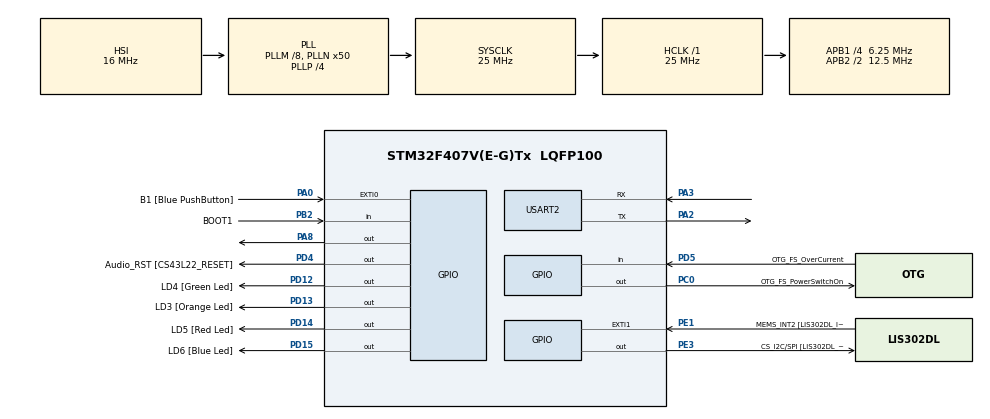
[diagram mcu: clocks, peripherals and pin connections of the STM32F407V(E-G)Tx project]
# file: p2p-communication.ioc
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Mcu.Family=STM32F4
Mcu.Name=STM32F407V(E-G)Tx
Mcu.Package=LQFP100
NVIC.PriorityGroup=NVIC_PRIORITYGROUP_0
PA0-WKUP.GPIO_Label=B1 [Blue PushButton]
PA0-WKUP.Signal=GPXTI0
PA10.GPIO_Label=OTG_FS_ID
PA10.GPIO_Mode=GPIO_MODE_AF_PP
PA10.GPIO_PuPd=GPIO_NOPULL
PA10.GPIO_Speed=GPIO_SPEED_FREQ_LOW
PA10.Signal=USB_OTG_FS_ID
PA11.GPIO_Label=OTG_FS_DM
PA11.GPIO_Mode=GPIO_MODE_AF_PP
PA11.GPIO_PuPd=GPIO_NOPULL
PA11.GPIO_Speed=GPIO_SPEED_FREQ_LOW
PA11.Signal=USB_OTG_FS_DM
PA12.GPIO_Label=OTG_FS_DP
PA12.GPIO_Mode=GPIO_MODE_AF_PP
PA12.GPIO_PuPd=GPIO_NOPULL
PA12.GPIO_Speed=GPIO_SPEED_FREQ_LOW
PA12.Signal=USB_OTG_FS_DP
PA13.GPIO_Label=SWDIO
PA13.Signal=SYS_JTMS-SWDIO
PA14.GPIO_Label=SWCLK
PA14.Signal=SYS_JTCK-SWCLK
PA2.Mode=Asynchronous
PA2.Signal=USART2_TX
PA3.Mode=Asynchronous
PA3.Signal=USART2_RX
PA4.GPIO_Label=I2S3_WS [CS43L22_LRCK]
PA4.GPIO_Mode=GPIO_MODE_AF_PP
PA4.GPIO_PuPd=GPIO_NOPULL
PA4.GPIO_Speed=GPIO_SPEED_FREQ_LOW
PA4.Signal=I2S3_WS
PA5.GPIO_Label=SPI1_SCK [LIS302DL_SCL/SPC]
PA5.GPIO_Mode=GPIO_MODE_AF_PP
PA5.GPIO_PuPd=GPIO_NOPULL
PA5.GPIO_Speed=GPIO_SPEED_FREQ_LOW
PA5.Signal=SPI1_SCK
PA6.GPIO_Label=SPI1_MISO [LIS302DL_SDO]
PA6.GPIO_Mode=GPIO_MODE_AF_PP
PA6.GPIO_PuPd=GPIO_NOPULL
PA6.GPIO_Speed=GPIO_SPEED_FREQ_LOW
PA6.Signal=SPI1_MISO
PA7.GPIO_Label=SPI1_MOSI [LIS302DL_SDA/SDI/SDO]
PA7.GPIO_Mode=GPIO_MODE_AF_PP
PA7.GPIO_PuPd=GPIO_NOPULL
PA7.GPIO_Speed=GPIO_SPEED_FREQ_LOW
PA7.Signal=SPI1_MOSI
PA8.Signal=GPIO_Output
PA9.GPIO_Label=VBUS_FS
PA9.GPIO_Mode=GPIO_MODE_INPUT
PA9.GPIO_PuPd=GPIO_NOPULL
PA9.Signal=USB_OTG_FS_VBUS
PB10.GPIO_Label=CLK_IN [MP45DT02_CLK]
PB10.GPIO_Mode=GPIO_MODE_AF_PP
PB10.GPIO_PuPd=GPIO_NOPULL
PB10.GPIO_Speed=GPIO_SPEED_FREQ_LOW
PB10.Signal=I2S2_CK
PB2.GPIO_Label=BOOT1
PB2.GPIO_Mode=GPIO_MODE_INPUT
PB2.GPIO_PuPd=GPIO_NOPULL
PB2.Signal=GPIO_Input
PB3.GPIO_Label=SWO
PB3.Signal=SYS_JTDO-SWO
PB6.GPIO_Label=Audio_SCL [CS43L22_SCL]
PB6.GPIO_Mode=GPIO_MODE_AF_OD
PB6.GPIO_PuPd=GPIO_NOPULL
PB6.GPIO_Speed=GPIO_SPEED_FREQ_LOW
PB6.Signal=I2C1_SCL
PB9.GPIO_Label=Audio_SDA [CS43L22_SDA]
PB9.GPIO_Mode=GPIO_MODE_AF_OD
PB9.GPIO_PuPd=GPIO_NOPULL
PB9.GPIO_Speed=GPIO_SPEED_FREQ_LOW
PB9.Signal=I2C1_SDA
PC0.GPIO_Label=OTG_FS_PowerSwitchOn
PC0.GPIO_PuPd=GPIO_NOPULL
PC0.GPIO_Speed=GPIO_SPEED_FREQ_LOW
PC0.PinState=GPIO_PIN_SET
PC0.Signal=GPIO_Output
PC10.GPIO_Label=I2S3_SCK [CS43L22_SCLK]
PC10.GPIO_Mode=GPIO_MODE_AF_PP
PC10.GPIO_PuPd=GPIO_NOPULL
PC10.GPIO_Speed=GPIO_SPEED_FREQ_LOW
PC10.Signal=I2S3_CK
PC12.GPIO_Label=I2S3_SD [CS43L22_SDIN]
PC12.GPIO_Mode=GPIO_MODE_AF_PP
PC12.GPIO_PuPd=GPIO_NOPULL
PC12.GPIO_Speed=GPIO_SPEED_FREQ_LOW
PC12.Signal=I2S3_SD
PC14-OSC32_IN.GPIO_Label=PC14-OSC32_IN
PC14-OSC32_IN.Signal=RCC_OSC32_IN
PC15-OSC32_OUT.GPIO_Label=PC15-OSC32_OUT
PC15-OSC32_OUT.Signal=RCC_OSC32_OUT
PC3.GPIO_Label=PDM_OUT [MP45DT02_DOUT]
PC3.GPIO_Mode=GPIO_MODE_AF_PP
PC3.GPIO_PuPd=GPIO_NOPULL
PC3.GPIO_Speed=GPIO_SPEED_FREQ_LOW
PC3.Signal=I2S2_SD
PC7.GPIO_Label=I2S3_MCK [CS43L22_MCLK]
PC7.GPIO_Mode=GPIO_MODE_AF_PP
PC7.GPIO_PuPd=GPIO_NOPULL
PC7.GPIO_Speed=GPIO_SPEED_FREQ_LOW
PC7.Signal=I2S3_MCK
PD12.GPIO_Label=LD4 [Green Led]
PD12.GPIO_PuPd=GPIO_NOPULL
PD12.GPIO_Speed=GPIO_SPEED_FREQ_LOW
PD12.Signal=GPIO_Output
PD13.GPIO_Label=LD3 [Orange Led]
PD13.GPIO_PuPd=GPIO_NOPULL
PD13.GPIO_Speed=GPIO_SPEED_FREQ_LOW
PD13.Signal=GPIO_Output
PD14.GPIO_Label=LD5 [Red Led]
PD14.GPIO_PuPd=GPIO_NOPULL
PD14.GPIO_Speed=GPIO_SPEED_FREQ_LOW
PD14.Signal=GPIO_Output
PD15.GPIO_Label=LD6 [Blue Led]
PD15.GPIO_PuPd=GPIO_NOPULL
PD15.GPIO_Speed=GPIO_SPEED_FREQ_LOW
PD15.Signal=GPIO_Output
PD4.GPIO_Label=Audio_RST [CS43L22_RESET]
PD4.GPIO_PuPd=GPIO_NOPULL
PD4.GPIO_Speed=GPIO_SPEED_FREQ_LOW
PD4.Signal=GPIO_Output
PD5.GPIO_Label=OTG_FS_OverCurrent
PD5.GPIO_Mode=GPIO_MODE_INPUT
PD5.GPIO_PuPd=GPIO_NOPULL
PD5.Signal=GPIO_Input
PE1.GPIO_Label=MEMS_INT2 [LIS302DL_INT2]
PE1.GPIO_ModeDefaultEXTI=GPIO_MODE_EVT_RISING
PE1.GPIO_PuPd=GPIO_NOPULL
PE1.Signal=GPXTI1
PE3.GPIO_Label=CS_I2C/SPI [LIS302DL_CS_I2C/SPI]
PE3.GPIO_PuPd=GPIO_NOPULL
PE3.GPIO_Speed=GPIO_SPEED_FREQ_LOW
PE3.Signal=GPIO_Output
PH0-OSC_IN.GPIO_Label=PH0-OSC_IN
PH0-OSC_IN.Signal=RCC_OSC_IN
PH1-OSC_OUT.GPIO_Label=PH1-OSC_OUT
PH1-OSC_OUT.Signal=RCC_OSC_OUT
ProjectManager.HeapSize=0x200
ProjectManager.StackSize=0x400
ProjectManager.TargetToolchain=Makefile
RCC.48MHZClocksFreq_Value=14285714.285714285
RCC.AHBFreq_Value=25000000
RCC.APB1CLKDivider=RCC_HCLK_DIV4
RCC.APB1Freq_Value=6250000
RCC.APB1TimFreq_Value=12500000
RCC.APB2CLKDivider=RCC_HCLK_DIV2
RCC.APB2Freq_Value=12500000
RCC.APB2TimFreq_Value=25000000
RCC.CortexFreq_Value=25000000
RCC.HCLKFreq_Value=25000000
RCC.HSE_VALUE=8000000
RCC.HSI_VALUE=16000000
RCC.LSE_VALUE=32768
RCC.PLLM=8
RCC.PLLN=50
RCC.PLLP=RCC_PLLP_DIV4
RCC.PLLQ=7
RCC.SYSCLKFreq_VALUE=25000000
RCC.SYSCLKSource=RCC_SYSCLKSOURCE_PLLCLK
RCC.VCOOutputFreq_Value=100000000
USART2.VirtualMode=VM_ASYNC
board=STM32F407G-DISC1

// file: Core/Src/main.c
/* USER CODE BEGIN Header */
/**
  ******************************************************************************
  * @file           : main.c
  * @brief          : Main program body
  ******************************************************************************
  * @attention
  *
  * Copyright (c) 2026 STMicroelectronics.
  * All rights reserved.
  *
  * This software is licensed under terms that can be found in the LICENSE file
  * in the root directory of this software component.
  * If no LICENSE file comes with this software, it is provided AS-IS.
  *
  ******************************************************************************
  */
/* USER CODE END Header */
#include "main.h"

/* USER CODE BEGIN Includes */
#include "stm32f4xx_hal.h"
#include <string.h>
#include "rs485.h"
#include "packet.h"
/* USER CODE END Includes */

/* USER CODE BEGIN PD */

#if !defined(NODE_ID)
  #error "NODE_ID not defined!"
#endif

/* USER CODE END PD */

UART_HandleTypeDef huart2;

void SystemClock_Config(void);
static void MX_GPIO_Init(void);
static void MX_USART2_UART_Init(void);

int main(void)
{

  /* MCU Configuration--------------------------------------------------------*/

  /* Reset of all peripherals, Initializes the Flash interface and the Systick. */
  HAL_Init();

  /* Configure the system clock */
  SystemClock_Config();

  /* Initialize all configured peripherals */
  MX_GPIO_Init();
  MX_USART2_UART_Init();
  /* USER CODE BEGIN 2 */

  RS485_Init(); // enables RXNE interrupt, sets RX mode

  /* USER CODE END 2 */

  /* Infinite loop */
  while (1)
  {

    /* USER CODE BEGIN 3 */

    #if NODE_ID == 1
      // Node 1: build packet -> Send -> wait for ACK -> with retry capability
      static uint8_t seq = 0;
      uint8_t payload[] = "Hello from Node1";
      uint8_t tx_buffer[PKT_MAX_TOTAL];
      uint16_t tx_len = PKT_Build(NODE_ID, MSG_DATA, seq, payload, sizeof(payload) - 1, tx_buffer);
      uint8_t got_ack = 0;
      uint8_t attempts = 0;

      while(attempts <= PKT_MAX_RETRIES && !got_ack)
      {
        // send (or resend same packet, same seq)
        uint8_t dummy;
        while(RS485_ReadByte(&dummy)); // drain any stale bytes before retrying
        RS485_Send(tx_buffer, tx_len);

        // waiting for matching ACK
        uint32_t start_time = HAL_GetTick();
        while((HAL_GetTick() - start_time) < RS485_TIMEOUT_MS)
        {
          uint8_t byte;
          //drain all bytes from ring buffer into parser
          while(RS485_ReadByte(&byte))
          {
            Packet rx_pkt;
            uint8_t result = PKT_Parse(byte, &rx_pkt);
            if(result == 1)
            {
              // valid packet - check if it's an ACK from Node 2
              if(rx_pkt.msg_type == MSG_ACK && rx_pkt.node_id == 2 && rx_pkt.seq == seq)
              {
                got_ack = 1;
              }
            }
            // result == 2 means CRC error - sliently discard
          }
          if(got_ack) break;
        }
        attempts++;
      }

      if(got_ack)
      {
        // 3 quick blinks = ACK received
        for(int i = 0; i < 3; i++) {
          HAL_GPIO_WritePin(GPIOD, LD4_Pin, GPIO_PIN_SET); // toggle LED on ACK
          HAL_Delay(100);
          HAL_GPIO_WritePin(GPIOD, LD4_Pin, GPIO_PIN_RESET);
          HAL_Delay(100);
        }
      }
      else
      {
        // solid red blink = all retries failed
        HAL_GPIO_WritePin(GPIOD, LD5_Pin, GPIO_PIN_SET); // toggle LED on failure
        HAL_Delay(600);
        HAL_GPIO_WritePin(GPIOD, LD5_Pin, GPIO_PIN_RESET);
        HAL_Delay(600);
      }
      seq++;              // increment sequence number for next message
      HAL_Delay(3000);    // wait before sending next message

    #elif NODE_ID == 2
      // Node 2: receive -> parse -> validate -> check sequence -> ACK
      uint8_t byte;
      while(RS485_ReadByte(&byte))
      {
        Packet rx_pkt;
        uint8_t result = PKT_Parse(byte, &rx_pkt);

        if(result == 1)
        {
          // valid packet - check if it's a data message from Node 1
          if(rx_pkt.msg_type == MSG_DATA)
          {
            // Send ACK back to sender first
            uint8_t ack_buffer[PKT_MAX_TOTAL];
            uint16_t ack_len = PKT_Build(NODE_ID, MSG_ACK, rx_pkt.seq, NULL, 0, ack_buffer);
            HAL_Delay(1); // guard before TX switch
            RS485_Send(ack_buffer, ack_len);

            // 1 long red blink = good packet (blink after ACK is sent)
            HAL_GPIO_WritePin(GPIOD, LD5_Pin, GPIO_PIN_SET); // toggle LED on message receive
            HAL_Delay(500);
            HAL_GPIO_WritePin(GPIOD, LD5_Pin, GPIO_PIN_RESET);
          }
        }
        // result == 2 means CRC error - sliently discard
        else if(result == 2)
        {
          // crC error - rapid orange blink to signal corruption
          for(int i = 0; i < 5; i++)
          {
            HAL_GPIO_WritePin(GPIOD, LD3_Pin, GPIO_PIN_SET); // toggle LED on CRC error
            HAL_Delay(50);
            HAL_GPIO_WritePin(GPIOD, LD3_Pin, GPIO_PIN_RESET);
            HAL_Delay(50);
          }
        }
      }

    #else
      #error "Invalid NODE_ID"
    #endif
  }
  /* USER CODE END 3 */
}

void SystemClock_Config(void)
{
  RCC_OscInitTypeDef RCC_OscInitStruct = {0};
  RCC_ClkInitTypeDef RCC_ClkInitStruct = {0};

  /** Configure the main internal regulator output voltage
  */
  __HAL_RCC_PWR_CLK_ENABLE();
  __HAL_PWR_VOLTAGESCALING_CONFIG(PWR_REGULATOR_VOLTAGE_SCALE1);

  /** Initializes the RCC Oscillators according to the specified parameters
  * in the RCC_OscInitTypeDef structure.
  */
  RCC_OscInitStruct.OscillatorType = RCC_OSCILLATORTYPE_HSI;
  RCC_OscInitStruct.HSIState = RCC_HSI_ON;
  RCC_OscInitStruct.HSICalibrationValue = RCC_HSICALIBRATION_DEFAULT;
  RCC_OscInitStruct.PLL.PLLState = RCC_PLL_ON;
  RCC_OscInitStruct.PLL.PLLSource = RCC_PLLSOURCE_HSI;
  RCC_OscInitStruct.PLL.PLLM = 8;
  RCC_OscInitStruct.PLL.PLLN = 50;
  RCC_OscInitStruct.PLL.PLLP = RCC_PLLP_DIV4;
  RCC_OscInitStruct.PLL.PLLQ = 7;
  if (HAL_RCC_OscConfig(&RCC_OscInitStruct) != HAL_OK)
  {
    Error_Handler();
  }

  /** Initializes the CPU, AHB and APB buses clocks
  */
  RCC_ClkInitStruct.ClockType = RCC_CLOCKTYPE_HCLK|RCC_CLOCKTYPE_SYSCLK
                              |RCC_CLOCKTYPE_PCLK1|RCC_CLOCKTYPE_PCLK2;
  RCC_ClkInitStruct.SYSCLKSource = RCC_SYSCLKSOURCE_PLLCLK;
  RCC_ClkInitStruct.AHBCLKDivider = RCC_SYSCLK_DIV1;
  RCC_ClkInitStruct.APB1CLKDivider = RCC_HCLK_DIV4;
  RCC_ClkInitStruct.APB2CLKDivider = RCC_HCLK_DIV2;

  if (HAL_RCC_ClockConfig(&RCC_ClkInitStruct, FLASH_LATENCY_0) != HAL_OK)
  {
    Error_Handler();
  }
}

static void MX_USART2_UART_Init(void)
{

  huart2.Instance = USART2;
  huart2.Init.BaudRate = 115200;
  huart2.Init.WordLength = UART_WORDLENGTH_8B;
  huart2.Init.StopBits = UART_STOPBITS_1;
  huart2.Init.Parity = UART_PARITY_NONE;
  huart2.Init.Mode = UART_MODE_TX_RX;
  huart2.Init.HwFlowCtl = UART_HWCONTROL_NONE;
  huart2.Init.OverSampling = UART_OVERSAMPLING_16;
  if (HAL_UART_Init(&huart2) != HAL_OK)
  {
    Error_Handler();
  }

}

static void MX_GPIO_Init(void)
{
  GPIO_InitTypeDef GPIO_InitStruct = {0};

  /* GPIO Ports Clock Enable */
  __HAL_RCC_GPIOE_CLK_ENABLE();
  __HAL_RCC_GPIOC_CLK_ENABLE();
  __HAL_RCC_GPIOH_CLK_ENABLE();
  __HAL_RCC_GPIOA_CLK_ENABLE();
  __HAL_RCC_GPIOB_CLK_ENABLE();
  __HAL_RCC_GPIOD_CLK_ENABLE();

  /*Configure GPIO pin Output Level */
  HAL_GPIO_WritePin(CS_I2C_SPI_GPIO_Port, CS_I2C_SPI_Pin, GPIO_PIN_RESET);

  /*Configure GPIO pin Output Level */
  HAL_GPIO_WritePin(OTG_FS_PowerSwitchOn_GPIO_Port, OTG_FS_PowerSwitchOn_Pin, GPIO_PIN_SET);

  /*Configure GPIO pin Output Level */
  HAL_GPIO_WritePin(GPIOD, LD4_Pin|LD3_Pin|LD5_Pin|LD6_Pin
                          |Audio_RST_Pin, GPIO_PIN_RESET);

  /*Configure GPIO pin Output Level */
  HAL_GPIO_WritePin(GPIOA, GPIO_PIN_8, GPIO_PIN_RESET);

  /*Configure GPIO pin : CS_I2C_SPI_Pin */
  GPIO_InitStruct.Pin = CS_I2C_SPI_Pin;
  GPIO_InitStruct.Mode = GPIO_MODE_OUTPUT_PP;
  GPIO_InitStruct.Pull = GPIO_NOPULL;
  GPIO_InitStruct.Speed = GPIO_SPEED_FREQ_LOW;
  HAL_GPIO_Init(CS_I2C_SPI_GPIO_Port, &GPIO_InitStruct);

  /*Configure GPIO pin : OTG_FS_PowerSwitchOn_Pin */
  GPIO_InitStruct.Pin = OTG_FS_PowerSwitchOn_Pin;
  GPIO_InitStruct.Mode = GPIO_MODE_OUTPUT_PP;
  GPIO_InitStruct.Pull = GPIO_NOPULL;
  GPIO_InitStruct.Speed = GPIO_SPEED_FREQ_LOW;
  HAL_GPIO_Init(OTG_FS_PowerSwitchOn_GPIO_Port, &GPIO_InitStruct);

  /*Configure GPIO pin : PDM_OUT_Pin */
  GPIO_InitStruct.Pin = PDM_OUT_Pin;
  GPIO_InitStruct.Mode = GPIO_MODE_AF_PP;
  GPIO_InitStruct.Pull = GPIO_NOPULL;
  GPIO_InitStruct.Speed = GPIO_SPEED_FREQ_LOW;
  GPIO_InitStruct.Alternate = GPIO_AF5_SPI2;
  HAL_GPIO_Init(PDM_OUT_GPIO_Port, &GPIO_InitStruct);

  /*Configure GPIO pin : B1_Pin */
  GPIO_InitStruct.Pin = B1_Pin;
  GPIO_InitStruct.Mode = GPIO_MODE_IT_RISING;
  GPIO_InitStruct.Pull = GPIO_NOPULL;
  HAL_GPIO_Init(B1_GPIO_Port, &GPIO_InitStruct);

  /*Configure GPIO pin : I2S3_WS_Pin */
  GPIO_InitStruct.Pin = I2S3_WS_Pin;
  GPIO_InitStruct.Mode = GPIO_MODE_AF_PP;
  GPIO_InitStruct.Pull = GPIO_NOPULL;
  GPIO_InitStruct.Speed = GPIO_SPEED_FREQ_LOW;
  GPIO_InitStruct.Alternate = GPIO_AF6_SPI3;
  HAL_GPIO_Init(I2S3_WS_GPIO_Port, &GPIO_InitStruct);

  /*Configure GPIO pins : SPI1_SCK_Pin SPI1_MISO_Pin SPI1_MOSI_Pin */
  GPIO_InitStruct.Pin = SPI1_SCK_Pin|SPI1_MISO_Pin|SPI1_MOSI_Pin;
  GPIO_InitStruct.Mode = GPIO_MODE_AF_PP;
  GPIO_InitStruct.Pull = GPIO_NOPULL;
  GPIO_InitStruct.Speed = GPIO_SPEED_FREQ_LOW;
  GPIO_InitStruct.Alternate = GPIO_AF5_SPI1;
  HAL_GPIO_Init(GPIOA, &GPIO_InitStruct);

  /*Configure GPIO pin : BOOT1_Pin */
  GPIO_InitStruct.Pin = BOOT1_Pin;
  GPIO_InitStruct.Mode = GPIO_MODE_INPUT;
  GPIO_InitStruct.Pull = GPIO_NOPULL;
  HAL_GPIO_Init(BOOT1_GPIO_Port, &GPIO_InitStruct);

  /*Configure GPIO pin : CLK_IN_Pin */
  GPIO_InitStruct.Pin = CLK_IN_Pin;
  GPIO_InitStruct.Mode = GPIO_MODE_AF_PP;
  GPIO_InitStruct.Pull = GPIO_NOPULL;
  GPIO_InitStruct.Speed = GPIO_SPEED_FREQ_LOW;
  GPIO_InitStruct.Alternate = GPIO_AF5_SPI2;
  HAL_GPIO_Init(CLK_IN_GPIO_Port, &GPIO_InitStruct);

  /*Configure GPIO pins : LD4_Pin LD3_Pin LD5_Pin LD6_Pin
                           Audio_RST_Pin */
  GPIO_InitStruct.Pin = LD4_Pin|LD3_Pin|LD5_Pin|LD6_Pin
                          |Audio_RST_Pin;
  GPIO_InitStruct.Mode = GPIO_MODE_OUTPUT_PP;
  GPIO_InitStruct.Pull = GPIO_NOPULL;
  GPIO_InitStruct.Speed = GPIO_SPEED_FREQ_LOW;
  HAL_GPIO_Init(GPIOD, &GPIO_InitStruct);

  /*Configure GPIO pins : I2S3_MCK_Pin I2S3_SCK_Pin I2S3_SD_Pin */
  GPIO_InitStruct.Pin = I2S3_MCK_Pin|I2S3_SCK_Pin|I2S3_SD_Pin;
  GPIO_InitStruct.Mode = GPIO_MODE_AF_PP;
  GPIO_InitStruct.Pull = GPIO_NOPULL;
  GPIO_InitStruct.Speed = GPIO_SPEED_FREQ_LOW;
  GPIO_InitStruct.Alternate = GPIO_AF6_SPI3;
  HAL_GPIO_Init(GPIOC, &GPIO_InitStruct);

  /*Configure GPIO pin : PA8 */
  GPIO_InitStruct.Pin = GPIO_PIN_8;
  GPIO_InitStruct.Mode = GPIO_MODE_OUTPUT_PP;
  GPIO_InitStruct.Pull = GPIO_NOPULL;
  GPIO_InitStruct.Speed = GPIO_SPEED_FREQ_LOW;
  HAL_GPIO_Init(GPIOA, &GPIO_InitStruct);

  /*Configure GPIO pin : VBUS_FS_Pin */
  GPIO_InitStruct.Pin = VBUS_FS_Pin;
  GPIO_InitStruct.Mode = GPIO_MODE_INPUT;
  GPIO_InitStruct.Pull = GPIO_NOPULL;
  HAL_GPIO_Init(VBUS_FS_GPIO_Port, &GPIO_InitStruct);

  /*Configure GPIO pins : OTG_FS_ID_Pin OTG_FS_DM_Pin OTG_FS_DP_Pin */
  GPIO_InitStruct.Pin = OTG_FS_ID_Pin|OTG_FS_DM_Pin|OTG_FS_DP_Pin;
  GPIO_InitStruct.Mode = GPIO_MODE_AF_PP;
  GPIO_InitStruct.Pull = GPIO_NOPULL;
  GPIO_InitStruct.Speed = GPIO_SPEED_FREQ_LOW;
  GPIO_InitStruct.Alternate = GPIO_AF10_OTG_FS;
  HAL_GPIO_Init(GPIOA, &GPIO_InitStruct);

  /*Configure GPIO pin : OTG_FS_OverCurrent_Pin */
  GPIO_InitStruct.Pin = OTG_FS_OverCurrent_Pin;
  GPIO_InitStruct.Mode = GPIO_MODE_INPUT;
  GPIO_InitStruct.Pull = GPIO_NOPULL;
  HAL_GPIO_Init(OTG_FS_OverCurrent_GPIO_Port, &GPIO_InitStruct);

  /*Configure GPIO pins : Audio_SCL_Pin Audio_SDA_Pin */
  GPIO_InitStruct.Pin = Audio_SCL_Pin|Audio_SDA_Pin;
  GPIO_InitStruct.Mode = GPIO_MODE_AF_OD;
  GPIO_InitStruct.Pull = GPIO_NOPULL;
  GPIO_InitStruct.Speed = GPIO_SPEED_FREQ_LOW;
  GPIO_InitStruct.Alternate = GPIO_AF4_I2C1;
  HAL_GPIO_Init(GPIOB, &GPIO_InitStruct);

  /*Configure GPIO pin : MEMS_INT2_Pin */
  GPIO_InitStruct.Pin = MEMS_INT2_Pin;
  GPIO_InitStruct.Mode = GPIO_MODE_EVT_RISING;
  GPIO_InitStruct.Pull = GPIO_NOPULL;
  HAL_GPIO_Init(MEMS_INT2_GPIO_Port, &GPIO_InitStruct);

}

void Error_Handler(void)
{
  __disable_irq();
  while (1)
  {
  }
}
